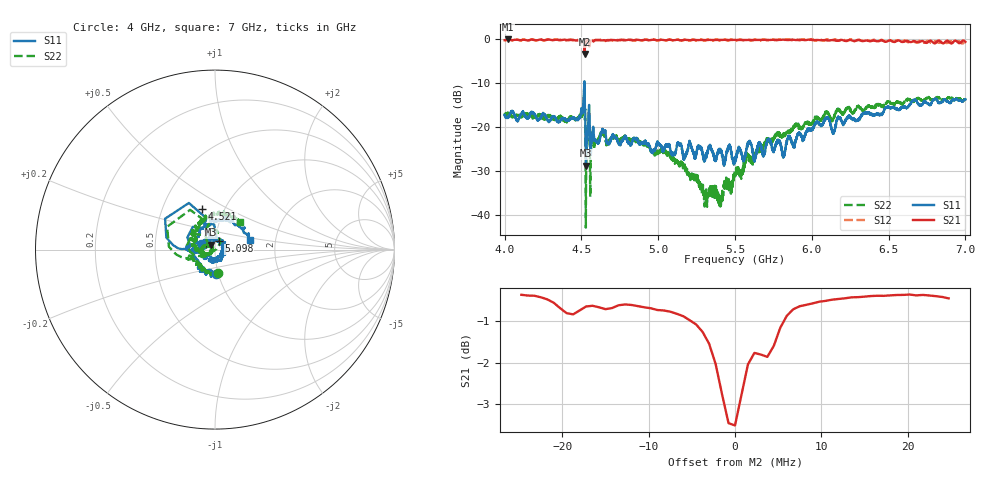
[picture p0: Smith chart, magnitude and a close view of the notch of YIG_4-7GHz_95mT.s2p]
#  HZ  S  RI  R  50.0
! Rohde & Schwarz ZVL13 2Ports - Version 3.31 - 1303.6509k13 SN: 101088
! Date: 2023-03-06 15:00:51
! Data & Calibration Information:
! Trc4:S11(TOSM) Trc2:S21(TOSM) Trc3:S12(TOSM) Trc5:S22(TOSM)
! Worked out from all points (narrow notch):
!   4000 points, 4 GHz to 7 GHz, reference 50 ohm
!   highest |S21| = -0.19 dB at 4.02 GHz (marker M1); lowest = -3.5 dB at 4.521 GHz (marker M2)
!   notch at M2: 3.2 dB deep, 4.18 MHz wide at half that depth
!   lowest |S11| = -28.8 dB at 4.529 GHz (marker M3), VSWR 1.08, Z = 47.5 + j2.54 ohm
!   |S11| at or under -10 dB: start of sweep to 4.519 GHz; 4.52 GHz to end of sweep
!   |S22| runs from -42.8 to -10.6 dB; largest |S21 - S12| = 0.076
!   S11 on the Smith chart (normalised r, x): 4 GHz: 0.97, -0.27; 4.521 GHz: 0.79, +0.38; 5.098 GHz: 1.04, +0.10; 7 GHz: 1.48, +0.17
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4e9  0.00355 -0.1372  -0.9059 -0.3143  -0.9113 -0.2918  0.0166 -0.1312
4.019505e9  -0.0192 -0.1253  -0.9393 -0.2739  -0.9308 -0.2767  0.0128 -0.1425
4.283571e9  -0.0797 -0.083  -0.9253 0.3045  -0.9216 0.3148  -0.073 -0.1157
4.500375e9  -0.1626 0.014  -0.5799 0.7192  -0.5934 0.6958  -0.1468 -0.0426
4.510878e9  -0.1681 0.00309  -0.5651 0.7308  -0.5817 0.718  -0.1526 -0.0521
4.52063e9  -0.1454 0.2598  -0.4618 0.4815  -0.4466 0.5157  -0.1384 0.2215
4.52138e9  -0.0706 0.2275  -0.547 0.4778  -0.524 0.5047  -0.0622 0.1936
4.528882e9  -0.0246 0.0266  -0.6665 0.6523  -0.6673 0.6621  -0.00335 -0.00641
4.569392e9  -0.0738 0.0196  -0.5695 0.7621  -0.5782 0.7656  -0.0616 -0.0391
4.632408e9  -0.0782 0.0384  -0.4392 0.8456  -0.4276 0.8619  -0.086 -0.0185
4.755439e9  -0.0464 0.0453  -0.1926 0.9495  -0.1922 0.9368  -0.0725 -0.00977
5e9  0.00515 0.0652  0.3235 0.9009  0.3252 0.8899  -0.0445 0.0255
5.098275e9  0.0213 0.0459  0.5228 0.8004  0.5226 0.7939  -0.0404 0.0245
5.3991e9  0.0541 -0.0103  0.915 0.3011  0.9024 0.2883  -0.0141 -0.000215
5.500375e9  0.0311 -0.0331  0.9615 0.0821  0.95 0.0764  -0.0228 -0.0152
5.736684e9  -0.000967 -0.0626  0.8695 -0.4165  0.88 -0.4175  -0.066 -0.0237
5.815454e9  -0.025 -0.039  0.7824 -0.5741  0.7724 -0.5721  -0.0774 -0.0239
6e9  -0.0911 -0.0108  0.4541 -0.8459  0.4664 -0.8664  -0.109 0.018
6.254314e9  -0.108 0.0674  -0.1053 -0.9541  -0.1083 -0.9779  -0.1118 0.0981
6.500375e9  -0.0202 0.1672  -0.5869 -0.7428  -0.6041 -0.7434  -0.0537 0.1853
6.773443e9  0.1163 0.1346  -0.9144 -0.2394  -0.8748 -0.2025  0.0497 0.1993
7e9  0.1962 0.0539  -0.8822 0.2506  -0.9022 0.2227  0.1387 0.1494
